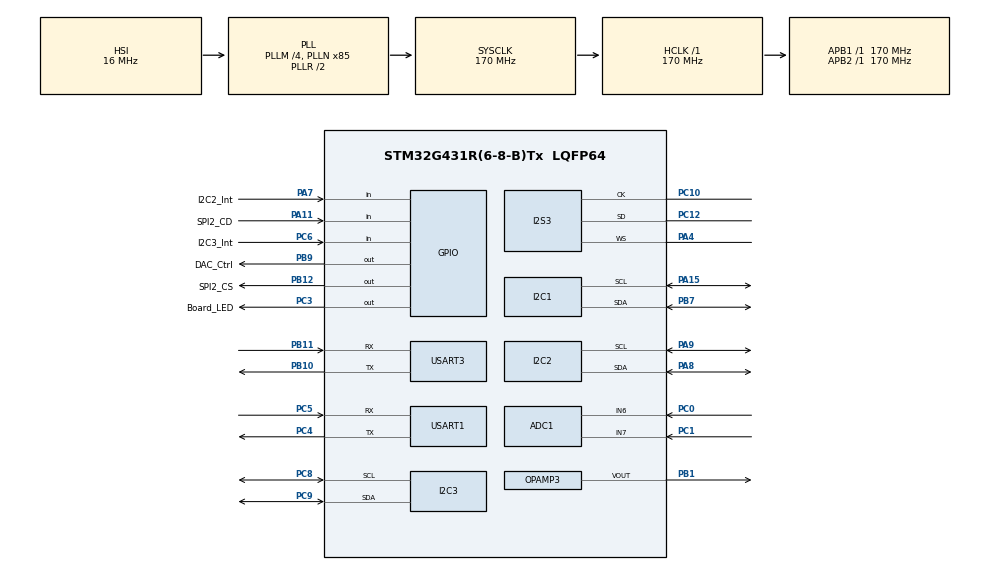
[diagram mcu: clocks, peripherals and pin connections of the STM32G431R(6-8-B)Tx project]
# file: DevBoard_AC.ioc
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ADC1.Channel-0\#ChannelRegularConversion=ADC_CHANNEL_6
ADC1.NbrOfConversionFlag=1
ADC1.OffsetNumber-0\#ChannelRegularConversion=ADC_OFFSET_NONE
ADC1.Rank-0\#ChannelRegularConversion=1
ADC1.SamplingTime-0\#ChannelRegularConversion=ADC_SAMPLETIME_2CYCLES_5
ADC1.SingleDiff-0\#ChannelRegularConversion=ADC_DIFFERENTIAL_ENDED
ADC1.master=1
DAC3.DAC_Channel-DAC_OUT2_Int=DAC_CHANNEL_2
Dma.Request0=SPI3_TX
Dma.Request1=USART1_RX
Dma.Request2=USART1_TX
Dma.SPI3_TX.0.Direction=DMA_MEMORY_TO_PERIPH
Dma.SPI3_TX.0.EventEnable=DISABLE
Dma.SPI3_TX.0.Instance=DMA1_Channel1
Dma.SPI3_TX.0.MemDataAlignment=DMA_MDATAALIGN_HALFWORD
Dma.SPI3_TX.0.MemInc=DMA_MINC_ENABLE
Dma.SPI3_TX.0.Mode=DMA_CIRCULAR
Dma.SPI3_TX.0.PeriphDataAlignment=DMA_PDATAALIGN_HALFWORD
Dma.SPI3_TX.0.PeriphInc=DMA_PINC_DISABLE
Dma.SPI3_TX.0.Polarity=HAL_DMAMUX_REQ_GEN_RISING
Dma.SPI3_TX.0.Priority=DMA_PRIORITY_LOW
Dma.SPI3_TX.0.RequestNumber=1
Dma.SPI3_TX.0.SignalID=NONE
Dma.SPI3_TX.0.SyncEnable=DISABLE
Dma.SPI3_TX.0.SyncPolarity=HAL_DMAMUX_SYNC_NO_EVENT
Dma.SPI3_TX.0.SyncRequestNumber=1
Dma.SPI3_TX.0.SyncSignalID=NONE
Dma.USART1_RX.1.Direction=DMA_PERIPH_TO_MEMORY
Dma.USART1_RX.1.EventEnable=DISABLE
Dma.USART1_RX.1.Instance=DMA1_Channel2
Dma.USART1_RX.1.MemDataAlignment=DMA_MDATAALIGN_BYTE
Dma.USART1_RX.1.MemInc=DMA_MINC_ENABLE
Dma.USART1_RX.1.Mode=DMA_NORMAL
Dma.USART1_RX.1.PeriphDataAlignment=DMA_PDATAALIGN_BYTE
Dma.USART1_RX.1.PeriphInc=DMA_PINC_DISABLE
Dma.USART1_RX.1.Polarity=HAL_DMAMUX_REQ_GEN_RISING
Dma.USART1_RX.1.Priority=DMA_PRIORITY_LOW
Dma.USART1_RX.1.RequestNumber=1
Dma.USART1_RX.1.SignalID=NONE
Dma.USART1_RX.1.SyncEnable=DISABLE
Dma.USART1_RX.1.SyncPolarity=HAL_DMAMUX_SYNC_NO_EVENT
Dma.USART1_RX.1.SyncRequestNumber=1
Dma.USART1_RX.1.SyncSignalID=NONE
Dma.USART1_TX.2.Direction=DMA_MEMORY_TO_PERIPH
Dma.USART1_TX.2.EventEnable=DISABLE
Dma.USART1_TX.2.Instance=DMA1_Channel3
Dma.USART1_TX.2.MemDataAlignment=DMA_MDATAALIGN_BYTE
Dma.USART1_TX.2.MemInc=DMA_MINC_ENABLE
Dma.USART1_TX.2.Mode=DMA_NORMAL
Dma.USART1_TX.2.PeriphDataAlignment=DMA_PDATAALIGN_BYTE
Dma.USART1_TX.2.PeriphInc=DMA_PINC_DISABLE
Dma.USART1_TX.2.Polarity=HAL_DMAMUX_REQ_GEN_RISING
Dma.USART1_TX.2.Priority=DMA_PRIORITY_LOW
Dma.USART1_TX.2.RequestNumber=1
Dma.USART1_TX.2.SignalID=NONE
Dma.USART1_TX.2.SyncEnable=DISABLE
Dma.USART1_TX.2.SyncPolarity=HAL_DMAMUX_SYNC_NO_EVENT
Dma.USART1_TX.2.SyncRequestNumber=1
Dma.USART1_TX.2.SyncSignalID=NONE
I2C1.Timing=0x40B285C2
I2C2.Timing=0x40B285C2
I2C3.Timing=0x40B285C2
I2S3.AudioFreq=I2S_AUDIOFREQ_44K
I2S3.ErrorAudioFreq=-0.21 %
I2S3.FullDuplexMode=I2S_FULLDUPLEXMODE_DISABLE
I2S3.Instance=SPI$Index
I2S3.RealAudioFreq=43.904 KHz
I2S3.VirtualMode=I2S_MODE_MASTER
Mcu.Family=STM32G4
Mcu.Name=STM32G431R(6-8-B)Tx
Mcu.Package=LQFP64
NUCLEO-G431RB.BUTTON=1
NUCLEO-G431RB.LD1=true
NUCLEO-G431RB.VCP=true
NVIC.DMA1_Channel1_IRQn=true\:0\:0\:false\:false\:true\:false\:true\:true
NVIC.DMA1_Channel2_IRQn=true\:0\:0\:false\:false\:true\:false\:true\:true
NVIC.DMA1_Channel3_IRQn=true\:0\:0\:false\:false\:true\:false\:true\:true
NVIC.EXTI15_10_IRQn=true\:0\:0\:false\:false\:true\:false\:true\:true
NVIC.PriorityGroup=NVIC_PRIORITYGROUP_4
NVIC.USART1_IRQn=true\:0\:0\:false\:false\:true\:true\:true\:true
PA11.GPIO_Label=SPI2_CD
PA11.GPIO_PuPd=GPIO_PULLUP
PA11.Signal=GPIO_Input
PA13.GPIO_Label=T_SWDIO
PA13.Signal=SYS_JTMS-SWDIO
PA14.GPIO_Label=T_SWCLK
PA14.Signal=SYS_JTCK-SWCLK
PA15.Mode=I2C
PA15.Signal=I2C1_SCL
PA2.Signal=LPUART1_TX
PA3.Signal=LPUART1_RX
PA4.GPIO_PuPd=GPIO_NOPULL
PA4.Mode=Half_Duplex_Master
PA4.Signal=I2S3_WS
PA7.GPIO_Label=I2C2_Int
PA7.GPIO_PuPd=GPIO_PULLUP
PA7.Signal=GPIO_Input
PA8.Mode=I2C
PA8.Signal=I2C2_SDA
PA9.Mode=I2C
PA9.Signal=I2C2_SCL
PB1.Mode=Follower-DAC_OUT2-INP
PB1.Signal=OPAMP3_VOUT
PB10.GPIO_PuPd=GPIO_PULLUP
PB10.Mode=Asynchronous
PB10.Signal=USART3_TX
PB11.GPIO_PuPd=GPIO_PULLUP
PB11.Mode=Asynchronous
PB11.Signal=USART3_RX
PB12.GPIO_Label=SPI2_CS
PB12.GPIO_PuPd=GPIO_PULLUP
PB12.PinState=GPIO_PIN_SET
PB12.Signal=GPIO_Output
PB3.GPIO_Label=T_SWO
PB3.Signal=SYS_JTDO-SWO
PB7.Mode=I2C
PB7.Signal=I2C1_SDA
PB9.GPIO_Label=DAC_Ctrl
PB9.Signal=GPIO_Output
PC0.Mode=IN6-Differential
PC0.Signal=ADC1_IN6
PC1.Mode=IN6-Differential
PC1.Signal=ADC1_IN7
PC10.Mode=Half_Duplex_Master
PC10.Signal=I2S3_CK
PC12.Mode=Half_Duplex_Master
PC12.Signal=I2S3_SD
PC14-OSC32_IN.GPIO_Label=RCC_OSC32_OUT
PC14-OSC32_IN.Signal=RCC_OSC32_IN
PC15-OSC32_OUT.GPIO_Label=RCC_OSC32_OUT
PC15-OSC32_OUT.Signal=RCC_OSC32_OUT
PC2.Signal=ADC1_IN8
PC3.GPIO_Label=Board_LED
PC3.Signal=GPIO_Output
PC4.GPIO_PuPd=GPIO_PULLUP
PC4.Mode=Asynchronous
PC4.Signal=USART1_TX
PC5.GPIO_PuPd=GPIO_PULLUP
PC5.Mode=Asynchronous
PC5.Signal=USART1_RX
PC6.GPIO_Label=I2C3_Int
PC6.Signal=GPIO_Input
PC8.Mode=I2C
PC8.Signal=I2C3_SCL
PC9.Mode=I2C
PC9.Signal=I2C3_SDA
PF0-OSC_IN.GPIO_Label=RCC_OSC_IN
PF0-OSC_IN.Mode=HSE-External-Oscillator
PF0-OSC_IN.Signal=RCC_OSC_IN
PF1-OSC_OUT.GPIO_Label=RCC_OSC_OUT
PF1-OSC_OUT.Mode=HSE-External-Oscillator
PF1-OSC_OUT.Signal=RCC_OSC_OUT
ProjectManager.HeapSize=0x200
ProjectManager.StackSize=0x400
ProjectManager.TargetToolchain=STM32CubeIDE
RCC.ADC12Freq_Value=170000000
RCC.AHBFreq_Value=170000000
RCC.APB1Freq_Value=170000000
RCC.APB1TimFreq_Value=170000000
RCC.APB2Freq_Value=170000000
RCC.APB2TimFreq_Value=170000000
RCC.CortexFreq_Value=170000000
RCC.EXTERNAL_CLOCK_VALUE=12288000
RCC.HCLKFreq_Value=170000000
RCC.HSE_VALUE=24000000
RCC.HSI48_VALUE=48000000
RCC.HSI_VALUE=16000000
RCC.LSE_VALUE=32768
RCC.PLLM=RCC_PLLM_DIV4
RCC.PLLN=85
RCC.RTCClockSelection=RCC_RTCCLKSOURCE_LSE
RCC.SYSCLKFreq_VALUE=170000000
RCC.SYSCLKSource=RCC_SYSCLKSOURCE_PLLCLK
RCC.USBFreq_Value=170000000
RCC.VCOOutputFreq_Value=340000000
USART1.VirtualMode-Asynchronous=VM_ASYNC
USART3.VirtualMode-Asynchronous=VM_ASYNC
VP_DAC3_VS_DACI2.Mode=DAC_OUT2_Int
VP_NUCLEO-G431RB_VS_BSP_COMMON.Mode=COMMON
VP_SYS_VS_DBSignals.Mode=DisableDeadBatterySignals
board=NUCLEO-G431RB

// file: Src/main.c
/* USER CODE BEGIN Header */

// This is an illustration of how to implement FM synthesis with an envelope
// and the Karplus-Strong (KS) algorithm on the STM32.  Every time a bar start
// notification arrives, it plays an FM sound at the specified bass note,
// followed by a KS sound.

/**
  ******************************************************************************
  * @file           : main.c
  * @brief          : Main program body
  ******************************************************************************
  * @attention
  *
  * Copyright (c) 2026 STMicroelectronics.
  * All rights reserved.
  *
  * This software is licensed under terms that can be found in the LICENSE file
  * in the root directory of this software component.
  * If no LICENSE file comes with this software, it is provided AS-IS.
  *
  ******************************************************************************
  */
/* USER CODE END Header */
#include "main.h"

/* USER CODE BEGIN Includes */
#include <stdio.h>
#include <string.h>
#include <stdarg.h>
#include <stdint.h>
#include <math.h>
#include "FM_synth.h"
#include "KS_synth.h"
#include "my_music_utils.h"
/* USER CODE END Includes */

/* USER CODE BEGIN PD */
#define UART_MAX_SIZE 64

// 1024 buffer gives 256 samples of left and right per update (ping and pong)
// At 44.1 kHz, 256 samples is 5.8 ms.
#define AUDIO_BUF_SIZE 1024
#define SAMPLE_RATE 44100

/* USER CODE END PD */

COM_InitTypeDef BspCOMInit;
ADC_HandleTypeDef hadc1;

DAC_HandleTypeDef hdac3;

I2C_HandleTypeDef hi2c1;
I2C_HandleTypeDef hi2c2;
I2C_HandleTypeDef hi2c3;

I2S_HandleTypeDef hi2s3;
DMA_HandleTypeDef hdma_spi3_tx;

OPAMP_HandleTypeDef hopamp3;

UART_HandleTypeDef huart1;
UART_HandleTypeDef huart3;
DMA_HandleTypeDef hdma_usart1_rx;
DMA_HandleTypeDef hdma_usart1_tx;

/* USER CODE BEGIN PV */
uint16_t audioBuffer[AUDIO_BUF_SIZE];
uint32_t phasePointer = 0;

volatile uint8_t fill_ping = 0;
volatile uint8_t fill_pong = 0;

uint8_t UART_rxBuffer[128];

/* USER CODE END PV */

void SystemClock_Config(void);
static void MX_GPIO_Init(void);
static void MX_DMA_Init(void);
static void MX_DAC3_Init(void);
static void MX_I2C1_Init(void);
static void MX_I2C2_Init(void);
static void MX_I2C3_Init(void);
static void MX_I2S3_Init(void);
static void MX_OPAMP3_Init(void);
static void MX_USART3_UART_Init(void);
static void MX_ADC1_Init(void);
static void MX_USART1_UART_Init(void);

/* USER CODE BEGIN 0 */
// Called when the DMA reaches the halfway mark of the audio buffer
void HAL_I2S_TxHalfCpltCallback(I2S_HandleTypeDef *hi2s)
{
    if (hi2s->Instance == hi2s3.Instance) {
        fill_ping = 1; // Signal the main loop to overwrite the first half
    }
}

// Called when the DMA reaches the exact end of the audio buffer
void HAL_I2S_TxCpltCallback(I2S_HandleTypeDef *hi2s)
{
    if (hi2s->Instance == hi2s3.Instance) {
        fill_pong = 1; // Signal the main loop to overwrite the second half
    }
}

// Called when something arrives back over the serial port
uint32_t rxStuffHereFlag = 0;
void HAL_UARTEx_RxEventCallback(UART_HandleTypeDef *huart, uint16_t Size) {
    if (huart->Instance == USART1) {
        // 'Size' gives you the exact number of bytes actually received
        // Process data up to rx_buffer[Size - 1]
    	rxStuffHereFlag = Size;

    	// Abort any remaining DMA transfer before re-initiating
        HAL_UART_AbortReceive(huart);

        // Re-start reception
        HAL_UARTEx_ReceiveToIdle_DMA(&huart1, UART_rxBuffer, UART_MAX_SIZE);
    }
}

/* USER CODE END 0 */

int main(void)
{

  /* MCU Configuration--------------------------------------------------------*/

  /* Reset of all peripherals, Initializes the Flash interface and the Systick. */
  HAL_Init();

  /* Configure the system clock */
  SystemClock_Config();

  /* Initialize all configured peripherals */
  MX_GPIO_Init();
  MX_DAC3_Init();
  MX_I2C1_Init();
  MX_I2C2_Init();
  MX_I2C3_Init();
  MX_DMA_Init();
  MX_I2S3_Init();
  MX_OPAMP3_Init();
  MX_USART3_UART_Init();
  MX_ADC1_Init();
  MX_USART1_UART_Init();
  /* USER CODE BEGIN 2 */

  // Can't use this space since the BSP functions are put after it.
  // Annoying, this.

  /* USER CODE END 2 */

  /* Initialize leds */
  BSP_LED_Init(LED_GREEN);

  /* Initialize USER push-button, will be used to trigger an interrupt each time it's pressed.*/
  BSP_PB_Init(BUTTON_USER, BUTTON_MODE_EXTI);

  /* Initialize COM1 port (115200, 8 bits (7-bit data + 1 stop bit), no parity */
  BspCOMInit.BaudRate   = 115200;
  BspCOMInit.WordLength = COM_WORDLENGTH_8B;
  BspCOMInit.StopBits   = COM_STOPBITS_1;
  BspCOMInit.Parity     = COM_PARITY_NONE;
  BspCOMInit.HwFlowCtl  = COM_HWCONTROL_NONE;
  if (BSP_COM_Init(COM1, &BspCOMInit) != BSP_ERROR_NONE)
  {
    Error_Handler();
  }

  /* Infinite loop */
  /* USER CODE BEGIN WHILE */

  // Fill up the array of sine samples:
  fillSineArray();
  printf("Sine buffer filled.\n");

  // Initialise the KS buffers (fills them with zeros) and set default KS parameters:
  initKSBuffersAndNotes();
  SetKSDampingFactor(0.4, 2000);

  // Start reception from the UART:
  HAL_UARTEx_ReceiveToIdle_DMA(&huart1, UART_rxBuffer, UART_MAX_SIZE);

  // Next, try setting up the audio DAC.
  // I might need to set the I2S going first, so the DAC PLL has something
  // to lock onto.  But before anything else: reset the DAC (it has a habit
  // of hanging in an undefined state when powered up:
  HAL_GPIO_WritePin(GPIOB, GPIO_PIN_9, GPIO_PIN_RESET);
  HAL_Delay(20);
  HAL_GPIO_WritePin(GPIOB, GPIO_PIN_9, GPIO_PIN_SET);
  HAL_Delay(20);
  HAL_I2S_Transmit_DMA(&hi2s3, audioBuffer, AUDIO_BUF_SIZE);

  // Will need to store these in case the bytes make use of the zero = no change option.
  uint8_t lastBassNote = 1;   // Set to default of 'C'
  uint8_t lastChordRoot = 1;  // Set to default of 'C'
  uint8_t currentTempo = 120; // Set to default of 120 bpm

  while (1)
  {
	// HAL_Delay(500);
	uint32_t timeNow = HAL_GetTick();

	if (rxStuffHereFlag > 0) {

		// The prints are effectively commented out, as the printf() was taking so long
		// it was causing transient glitches in the audio every time something needed to
		// be printed out.
		if (rxStuffHereFlag > 0 && false) {
			printf("UART data received: length %d: ", (int)rxStuffHereFlag);
			for (int u = 0; u < rxStuffHereFlag; u++) {
				printf("0x%x ", UART_rxBuffer[u]);
			}
			printf("\r\n");
		}

		// Reset the flag ready for the next time:
		rxStuffHereFlag = 0;

		// Parse the message received to see if it is a start of bar message, or
		// a bar update message, and if so, extract the current chord root note
		// and bass note:
		if (UART_rxBuffer[1] == 0x00 || UART_rxBuffer[1] == 0x02) {

			uint8_t bassNote, chordRoot, chordType;

			if (UART_rxBuffer[1] == 0x00) {
				bassNote = UART_rxBuffer[8] & 0xF;
				chordRoot = UART_rxBuffer[8] >> 4;
				chordType = UART_rxBuffer[9];
			}
			else {
				bassNote = UART_rxBuffer[3] & 0xF;
				chordRoot = UART_rxBuffer[3] >> 4;
				chordType = UART_rxBuffer[4];
			}

			// Quick sanity check: both should be in the range 1 (C) to 12 (B),
			// and zero means no change:
			if (bassNote > 12) bassNote = (bassNote - 1) % 12 + 1;
			else if (bassNote == 0 && lastBassNote > 0) bassNote = lastBassNote;
			if (bassNote != 0) lastBassNote = bassNote;

			if (chordRoot > 12) chordRoot = (chordRoot - 1) % 12 + 1;
			else if (chordRoot == 0 && lastChordRoot > 0) chordRoot = lastChordRoot;
			if (chordRoot != 0) lastChordRoot = chordRoot;

			// From the bass note and chord root, work out the frequency of the two
			// notes to make.  The conductor protocol uses '1' for C, MIDI uses
			// 48 for the C below middle-C, so to convert to MIDI notes, add 47.
			float bassFrequency = getFreqOfMidiNote(bassNote + 47);

			// From the most recent tempo, work out the time in milliseconds of one beat:
			if (UART_rxBuffer[1] == 0x00) currentTempo = UART_rxBuffer[4];
			uint16_t milliSecondsInOneBeat = 60000 / currentTempo;

			// Then add to the queue an FM note starting now for the bass frequency:
			addNewFMNote(timeNow, bassFrequency);
			addNewFMNote(timeNow + milliSecondsInOneBeat / 4, bassFrequency * 0.5);

			// Add a chord arpeggio for the KS notes going up and down the chord.
			uint8_t chordFreqs[5] = {60, 60, 60, 60};
			getChordNotes(chordFreqs, chordRoot + 47, chordType, 4);
			addNewKSNote(timeNow + 1 * milliSecondsInOneBeat / 8, getFreqOfMidiNote(chordFreqs[0]), 0.5);
			addNewKSNote(timeNow + 2 * milliSecondsInOneBeat / 8, getFreqOfMidiNote(chordFreqs[1]), 0.5);
			addNewKSNote(timeNow + 3 * milliSecondsInOneBeat / 8, getFreqOfMidiNote(chordFreqs[2]), 0.5);
			addNewKSNote(timeNow + 4 * milliSecondsInOneBeat / 8, getFreqOfMidiNote(chordFreqs[3]), 0.5);
		}
	}

	// Now check to see if it's time to sort out a new set of audio samples:
	uint32_t startFill = 0, endFill = 0;
	if (fill_ping) {
		endFill = AUDIO_BUF_SIZE / 2;
		fill_ping = 0;
	}
	else if (fill_pong) {
		startFill = AUDIO_BUF_SIZE / 2;
		endFill = AUDIO_BUF_SIZE;
		fill_pong = 0;
	}

	if (startFill != endFill) {
		// For testing, I'd like to know how long this fill process takes, so I'll set
		// a pin high when it starts, then reset it low again at the end.  I can then
		// take a look on the scope while it's running at full speed.  I'll use PB8
		// as it's easy to find on the connector and not doing anything else.
        HAL_GPIO_WritePin(GPIOB, GPIO_PIN_8, GPIO_PIN_SET);

		// Refresh whichever half of the audio buffer needs refreshing.  This will look
        // through the note buffer, which contains up to four notes specified by
        // a NOTEINFO structure (which contains their start time, a flag noting whether they
        // are in progress or not, their currentPhaseOffset, currentPhaseStep, KS buffer, etc.)

        // First, set the audioBuffer for the region being filled to midway:
        for (uint32_t loop = startFill; loop < endFill; loop += 2) {
        	audioBuffer[loop] = 16384;
        	audioBuffer[loop + 1] = 16384;
        }

        // Next, go through the notes array, and add to the audioBuffer the waveforms for
        // all currently active notes:
        addFMsamples(audioBuffer, startFill, endFill);
        addKSsamples(audioBuffer, startFill, endFill);

        // Reset to logic low the test pin used for timing checks:
		HAL_GPIO_WritePin(GPIOB, GPIO_PIN_8, GPIO_PIN_RESET);
	}

    /* USER CODE END WHILE */

  }
}

void SystemClock_Config(void)
{
  RCC_OscInitTypeDef RCC_OscInitStruct = {0};
  RCC_ClkInitTypeDef RCC_ClkInitStruct = {0};

  /** Configure the main internal regulator output voltage
  */
  HAL_PWREx_ControlVoltageScaling(PWR_REGULATOR_VOLTAGE_SCALE1_BOOST);

  /** Initializes the RCC Oscillators according to the specified parameters
  * in the RCC_OscInitTypeDef structure.
  */
  RCC_OscInitStruct.OscillatorType = RCC_OSCILLATORTYPE_HSI;
  RCC_OscInitStruct.HSIState = RCC_HSI_ON;
  RCC_OscInitStruct.HSICalibrationValue = RCC_HSICALIBRATION_DEFAULT;
  RCC_OscInitStruct.PLL.PLLState = RCC_PLL_ON;
  RCC_OscInitStruct.PLL.PLLSource = RCC_PLLSOURCE_HSI;
  RCC_OscInitStruct.PLL.PLLM = RCC_PLLM_DIV4;
  RCC_OscInitStruct.PLL.PLLN = 85;
  RCC_OscInitStruct.PLL.PLLP = RCC_PLLP_DIV2;
  RCC_OscInitStruct.PLL.PLLQ = RCC_PLLQ_DIV2;
  RCC_OscInitStruct.PLL.PLLR = RCC_PLLR_DIV2;
  if (HAL_RCC_OscConfig(&RCC_OscInitStruct) != HAL_OK)
  {
    Error_Handler();
  }

  /** Initializes the CPU, AHB and APB buses clocks
  */
  RCC_ClkInitStruct.ClockType = RCC_CLOCKTYPE_HCLK|RCC_CLOCKTYPE_SYSCLK
                              |RCC_CLOCKTYPE_PCLK1|RCC_CLOCKTYPE_PCLK2;
  RCC_ClkInitStruct.SYSCLKSource = RCC_SYSCLKSOURCE_PLLCLK;
  RCC_ClkInitStruct.AHBCLKDivider = RCC_SYSCLK_DIV1;
  RCC_ClkInitStruct.APB1CLKDivider = RCC_HCLK_DIV1;
  RCC_ClkInitStruct.APB2CLKDivider = RCC_HCLK_DIV1;

  if (HAL_RCC_ClockConfig(&RCC_ClkInitStruct, FLASH_LATENCY_4) != HAL_OK)
  {
    Error_Handler();
  }
}

static void MX_ADC1_Init(void)
{

  ADC_MultiModeTypeDef multimode = {0};
  ADC_ChannelConfTypeDef sConfig = {0};

  /** Common config
  */
  hadc1.Instance = ADC1;
  hadc1.Init.ClockPrescaler = ADC_CLOCK_SYNC_PCLK_DIV4;
  hadc1.Init.Resolution = ADC_RESOLUTION_12B;
  hadc1.Init.DataAlign = ADC_DATAALIGN_RIGHT;
  hadc1.Init.GainCompensation = 0;
  hadc1.Init.ScanConvMode = ADC_SCAN_DISABLE;
  hadc1.Init.EOCSelection = ADC_EOC_SINGLE_CONV;
  hadc1.Init.LowPowerAutoWait = DISABLE;
  hadc1.Init.ContinuousConvMode = DISABLE;
  hadc1.Init.NbrOfConversion = 1;
  hadc1.Init.DiscontinuousConvMode = DISABLE;
  hadc1.Init.ExternalTrigConv = ADC_SOFTWARE_START;
  hadc1.Init.ExternalTrigConvEdge = ADC_EXTERNALTRIGCONVEDGE_NONE;
  hadc1.Init.DMAContinuousRequests = DISABLE;
  hadc1.Init.Overrun = ADC_OVR_DATA_PRESERVED;
  hadc1.Init.OversamplingMode = DISABLE;
  if (HAL_ADC_Init(&hadc1) != HAL_OK)
  {
    Error_Handler();
  }

  /** Configure the ADC multi-mode
  */
  multimode.Mode = ADC_MODE_INDEPENDENT;
  if (HAL_ADCEx_MultiModeConfigChannel(&hadc1, &multimode) != HAL_OK)
  {
    Error_Handler();
  }

  /** Configure Regular Channel
  */
  sConfig.Channel = ADC_CHANNEL_6;
  sConfig.Rank = ADC_REGULAR_RANK_1;
  sConfig.SamplingTime = ADC_SAMPLETIME_2CYCLES_5;
  sConfig.SingleDiff = ADC_DIFFERENTIAL_ENDED;
  sConfig.OffsetNumber = ADC_OFFSET_NONE;
  sConfig.Offset = 0;
  if (HAL_ADC_ConfigChannel(&hadc1, &sConfig) != HAL_OK)
  {
    Error_Handler();
  }

}

static void MX_DAC3_Init(void)
{

  DAC_ChannelConfTypeDef sConfig = {0};

  /** DAC Initialization
  */
  hdac3.Instance = DAC3;
  if (HAL_DAC_Init(&hdac3) != HAL_OK)
  {
    Error_Handler();
  }

  /** DAC channel OUT2 config
  */
  sConfig.DAC_HighFrequency = DAC_HIGH_FREQUENCY_INTERFACE_MODE_AUTOMATIC;
  sConfig.DAC_DMADoubleDataMode = DISABLE;
  sConfig.DAC_SignedFormat = DISABLE;
  sConfig.DAC_SampleAndHold = DAC_SAMPLEANDHOLD_DISABLE;
  sConfig.DAC_Trigger = DAC_TRIGGER_NONE;
  sConfig.DAC_Trigger2 = DAC_TRIGGER_NONE;
  sConfig.DAC_OutputBuffer = DAC_OUTPUTBUFFER_DISABLE;
  sConfig.DAC_ConnectOnChipPeripheral = DAC_CHIPCONNECT_INTERNAL;
  sConfig.DAC_UserTrimming = DAC_TRIMMING_FACTORY;
  if (HAL_DAC_ConfigChannel(&hdac3, &sConfig, DAC_CHANNEL_2) != HAL_OK)
  {
    Error_Handler();
  }

}

static void MX_I2C1_Init(void)
{

  hi2c1.Instance = I2C1;
  hi2c1.Init.Timing = 0x40B285C2;
  hi2c1.Init.OwnAddress1 = 0;
  hi2c1.Init.AddressingMode = I2C_ADDRESSINGMODE_7BIT;
  hi2c1.Init.DualAddressMode = I2C_DUALADDRESS_DISABLE;
  hi2c1.Init.OwnAddress2 = 0;
  hi2c1.Init.OwnAddress2Masks = I2C_OA2_NOMASK;
  hi2c1.Init.GeneralCallMode = I2C_GENERALCALL_DISABLE;
  hi2c1.Init.NoStretchMode = I2C_NOSTRETCH_DISABLE;
  if (HAL_I2C_Init(&hi2c1) != HAL_OK)
  {
    Error_Handler();
  }

  /** Configure Analogue filter
  */
  if (HAL_I2CEx_ConfigAnalogFilter(&hi2c1, I2C_ANALOGFILTER_ENABLE) != HAL_OK)
  {
    Error_Handler();
  }

  /** Configure Digital filter
  */
  if (HAL_I2CEx_ConfigDigitalFilter(&hi2c1, 0) != HAL_OK)
  {
    Error_Handler();
  }

}

static void MX_I2C2_Init(void)
{

  hi2c2.Instance = I2C2;
  hi2c2.Init.Timing = 0x40B285C2;
  hi2c2.Init.OwnAddress1 = 0;
  hi2c2.Init.AddressingMode = I2C_ADDRESSINGMODE_7BIT;
  hi2c2.Init.DualAddressMode = I2C_DUALADDRESS_DISABLE;
  hi2c2.Init.OwnAddress2 = 0;
  hi2c2.Init.OwnAddress2Masks = I2C_OA2_NOMASK;
  hi2c2.Init.GeneralCallMode = I2C_GENERALCALL_DISABLE;
  hi2c2.Init.NoStretchMode = I2C_NOSTRETCH_DISABLE;
  if (HAL_I2C_Init(&hi2c2) != HAL_OK)
  {
    Error_Handler();
  }

  /** Configure Analogue filter
  */
  if (HAL_I2CEx_ConfigAnalogFilter(&hi2c2, I2C_ANALOGFILTER_ENABLE) != HAL_OK)
  {
    Error_Handler();
  }

  /** Configure Digital filter
  */
  if (HAL_I2CEx_ConfigDigitalFilter(&hi2c2, 0) != HAL_OK)
  {
    Error_Handler();
  }

}

static void MX_I2C3_Init(void)
{

  hi2c3.Instance = I2C3;
  hi2c3.Init.Timing = 0x40B285C2;
  hi2c3.Init.OwnAddress1 = 0;
  hi2c3.Init.AddressingMode = I2C_ADDRESSINGMODE_7BIT;
  hi2c3.Init.DualAddressMode = I2C_DUALADDRESS_DISABLE;
  hi2c3.Init.OwnAddress2 = 0;
  hi2c3.Init.OwnAddress2Masks = I2C_OA2_NOMASK;
  hi2c3.Init.GeneralCallMode = I2C_GENERALCALL_DISABLE;
  hi2c3.Init.NoStretchMode = I2C_NOSTRETCH_DISABLE;
  if (HAL_I2C_Init(&hi2c3) != HAL_OK)
  {
    Error_Handler();
  }

  /** Configure Analogue filter
  */
  if (HAL_I2CEx_ConfigAnalogFilter(&hi2c3, I2C_ANALOGFILTER_ENABLE) != HAL_OK)
  {
    Error_Handler();
  }

  /** Configure Digital filter
  */
  if (HAL_I2CEx_ConfigDigitalFilter(&hi2c3, 0) != HAL_OK)
  {
    Error_Handler();
  }

}

static void MX_I2S3_Init(void)
{

  hi2s3.Instance = SPI3;
  hi2s3.Init.Mode = I2S_MODE_MASTER_TX;
  hi2s3.Init.Standard = I2S_STANDARD_PHILIPS;
  hi2s3.Init.DataFormat = I2S_DATAFORMAT_16B;
  hi2s3.Init.MCLKOutput = I2S_MCLKOUTPUT_DISABLE;
  hi2s3.Init.AudioFreq = I2S_AUDIOFREQ_44K;
  hi2s3.Init.CPOL = I2S_CPOL_LOW;
  if (HAL_I2S_Init(&hi2s3) != HAL_OK)
  {
    Error_Handler();
  }

}

static void MX_OPAMP3_Init(void)
{

  hopamp3.Instance = OPAMP3;
  hopamp3.Init.PowerMode = OPAMP_POWERMODE_NORMALSPEED;
  hopamp3.Init.Mode = OPAMP_FOLLOWER_MODE;
  hopamp3.Init.NonInvertingInput = OPAMP_NONINVERTINGINPUT_DAC;
  hopamp3.Init.InternalOutput = DISABLE;
  hopamp3.Init.TimerControlledMuxmode = OPAMP_TIMERCONTROLLEDMUXMODE_DISABLE;
  hopamp3.Init.UserTrimming = OPAMP_TRIMMING_FACTORY;
  if (HAL_OPAMP_Init(&hopamp3) != HAL_OK)
  {
    Error_Handler();
  }

}

static void MX_USART1_UART_Init(void)
{

  huart1.Instance = USART1;
  huart1.Init.BaudRate = 115200;
  huart1.Init.WordLength = UART_WORDLENGTH_8B;
  huart1.Init.StopBits = UART_STOPBITS_1;
  huart1.Init.Parity = UART_PARITY_NONE;
  huart1.Init.Mode = UART_MODE_TX_RX;
  huart1.Init.HwFlowCtl = UART_HWCONTROL_NONE;
  huart1.Init.OverSampling = UART_OVERSAMPLING_16;
  huart1.Init.OneBitSampling = UART_ONE_BIT_SAMPLE_DISABLE;
  huart1.Init.ClockPrescaler = UART_PRESCALER_DIV1;
  huart1.AdvancedInit.AdvFeatureInit = UART_ADVFEATURE_NO_INIT;
  if (HAL_UART_Init(&huart1) != HAL_OK)
  {
    Error_Handler();
  }
  if (HAL_UARTEx_SetTxFifoThreshold(&huart1, UART_TXFIFO_THRESHOLD_1_8) != HAL_OK)
  {
    Error_Handler();
  }
  if (HAL_UARTEx_SetRxFifoThreshold(&huart1, UART_RXFIFO_THRESHOLD_1_8) != HAL_OK)
  {
    Error_Handler();
  }
  if (HAL_UARTEx_DisableFifoMode(&huart1) != HAL_OK)
  {
    Error_Handler();
  }

}

static void MX_USART3_UART_Init(void)
{

  huart3.Instance = USART3;
  huart3.Init.BaudRate = 115200;
  huart3.Init.WordLength = UART_WORDLENGTH_8B;
  huart3.Init.StopBits = UART_STOPBITS_1;
  huart3.Init.Parity = UART_PARITY_NONE;
  huart3.Init.Mode = UART_MODE_TX_RX;
  huart3.Init.HwFlowCtl = UART_HWCONTROL_NONE;
  huart3.Init.OverSampling = UART_OVERSAMPLING_16;
  huart3.Init.OneBitSampling = UART_ONE_BIT_SAMPLE_DISABLE;
  huart3.Init.ClockPrescaler = UART_PRESCALER_DIV1;
  huart3.AdvancedInit.AdvFeatureInit = UART_ADVFEATURE_NO_INIT;
  if (HAL_UART_Init(&huart3) != HAL_OK)
  {
    Error_Handler();
  }
  if (HAL_UARTEx_SetTxFifoThreshold(&huart3, UART_TXFIFO_THRESHOLD_1_8) != HAL_OK)
  {
    Error_Handler();
  }
  if (HAL_UARTEx_SetRxFifoThreshold(&huart3, UART_RXFIFO_THRESHOLD_1_8) != HAL_OK)
  {
    Error_Handler();
  }
  if (HAL_UARTEx_DisableFifoMode(&huart3) != HAL_OK)
  {
    Error_Handler();
  }

}

static void MX_DMA_Init(void)
{

  /* DMA controller clock enable */
  __HAL_RCC_DMAMUX1_CLK_ENABLE();
  __HAL_RCC_DMA1_CLK_ENABLE();

  /* DMA interrupt init */
  /* DMA1_Channel1_IRQn interrupt configuration */
  HAL_NVIC_SetPriority(DMA1_Channel1_IRQn, 0, 0);
  HAL_NVIC_EnableIRQ(DMA1_Channel1_IRQn);
  /* DMA1_Channel2_IRQn interrupt configuration */
  HAL_NVIC_SetPriority(DMA1_Channel2_IRQn, 0, 0);
  HAL_NVIC_EnableIRQ(DMA1_Channel2_IRQn);
  /* DMA1_Channel3_IRQn interrupt configuration */
  HAL_NVIC_SetPriority(DMA1_Channel3_IRQn, 0, 0);
  HAL_NVIC_EnableIRQ(DMA1_Channel3_IRQn);

}

static void MX_GPIO_Init(void)
{
  GPIO_InitTypeDef GPIO_InitStruct = {0};

  /* GPIO Ports Clock Enable */
  __HAL_RCC_GPIOC_CLK_ENABLE();
  __HAL_RCC_GPIOF_CLK_ENABLE();
  __HAL_RCC_GPIOA_CLK_ENABLE();
  __HAL_RCC_GPIOB_CLK_ENABLE();

  /*Configure GPIO pin Output Level */
  HAL_GPIO_WritePin(Board_LED_GPIO_Port, Board_LED_Pin, GPIO_PIN_RESET);

  /*Configure GPIO pin Output Level */
  HAL_GPIO_WritePin(SPI2_CS_GPIO_Port, SPI2_CS_Pin, GPIO_PIN_SET);

  /*Configure GPIO pin Output Level */
  HAL_GPIO_WritePin(DAC_Ctrl_GPIO_Port, DAC_Ctrl_Pin, GPIO_PIN_RESET);

  /*Configure GPIO pin : Board_LED_Pin */
  GPIO_InitStruct.Pin = Board_LED_Pin;
  GPIO_InitStruct.Mode = GPIO_MODE_OUTPUT_PP;
  GPIO_InitStruct.Pull = GPIO_NOPULL;
  GPIO_InitStruct.Speed = GPIO_SPEED_FREQ_LOW;
  HAL_GPIO_Init(Board_LED_GPIO_Port, &GPIO_InitStruct);

  /*Configure GPIO pins : I2C2_Int_Pin SPI2_CD_Pin */
  GPIO_InitStruct.Pin = I2C2_Int_Pin|SPI2_CD_Pin;
  GPIO_InitStruct.Mode = GPIO_MODE_INPUT;
  GPIO_InitStruct.Pull = GPIO_PULLUP;
  HAL_GPIO_Init(GPIOA, &GPIO_InitStruct);

  /*Configure GPIO pin : SPI2_CS_Pin */
  GPIO_InitStruct.Pin = SPI2_CS_Pin;
  GPIO_InitStruct.Mode = GPIO_MODE_OUTPUT_PP;
  GPIO_InitStruct.Pull = GPIO_PULLUP;
  GPIO_InitStruct.Speed = GPIO_SPEED_FREQ_LOW;
  HAL_GPIO_Init(SPI2_CS_GPIO_Port, &GPIO_InitStruct);

  /*Configure GPIO pin : I2C3_Int_Pin */
  GPIO_InitStruct.Pin = I2C3_Int_Pin;
  GPIO_InitStruct.Mode = GPIO_MODE_INPUT;
  GPIO_InitStruct.Pull = GPIO_NOPULL;
  HAL_GPIO_Init(I2C3_Int_GPIO_Port, &GPIO_InitStruct);

  /*Configure GPIO pin : DAC_Ctrl_Pin */
  GPIO_InitStruct.Pin = DAC_Ctrl_Pin;
  GPIO_InitStruct.Mode = GPIO_MODE_OUTPUT_PP;
  GPIO_InitStruct.Pull = GPIO_NOPULL;
  GPIO_InitStruct.Speed = GPIO_SPEED_FREQ_LOW;
  HAL_GPIO_Init(DAC_Ctrl_GPIO_Port, &GPIO_InitStruct);

  /* USER CODE BEGIN MX_GPIO_Init_2 */

  // Configure GPIO pin PB8 for general timing tests in the update cycle
  GPIO_InitStruct.Pin = GPIO_PIN_8;
  GPIO_InitStruct.Mode = GPIO_MODE_OUTPUT_PP;
  GPIO_InitStruct.Pull = GPIO_NOPULL;
  GPIO_InitStruct.Speed = GPIO_SPEED_FREQ_LOW;
  HAL_GPIO_Init(GPIOB, &GPIO_InitStruct);

  /* USER CODE END MX_GPIO_Init_2 */
}

void Error_Handler(void)
{
  __disable_irq();
  while (1)
  {
  }
}
